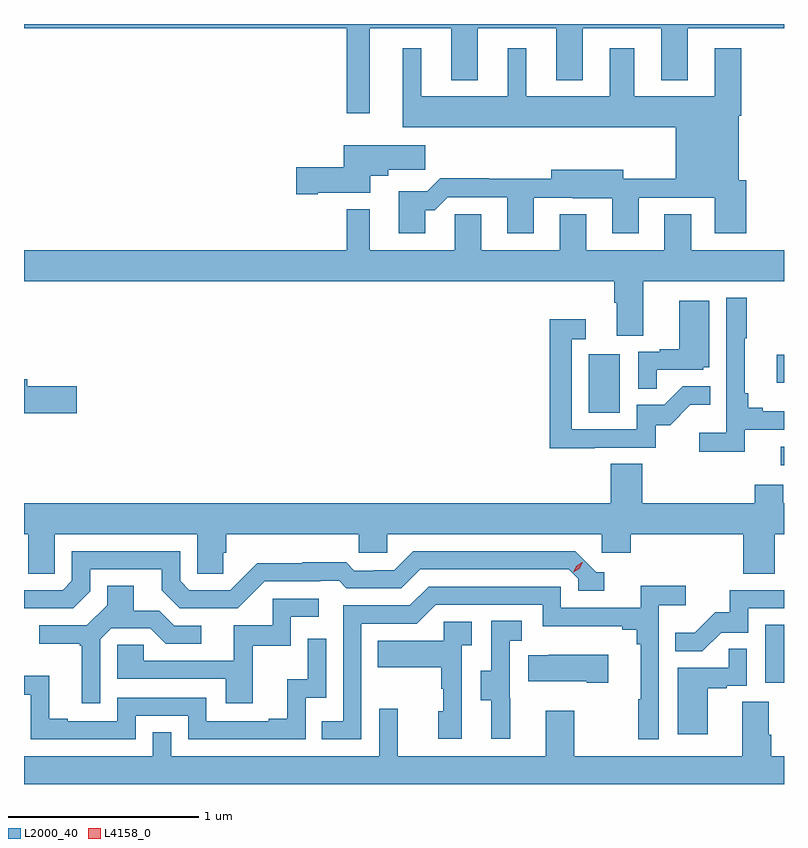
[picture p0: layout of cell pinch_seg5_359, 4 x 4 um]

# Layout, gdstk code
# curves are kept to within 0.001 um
import gdstk
lib = gdstk.Library(unit=1e-6, precision=1e-09)
def R(c, l, rs):  # rectangles x0, y0, x1, y1
    for r in rs: c.add(gdstk.rectangle(r[:2], r[2:], *l))
def P(c, l, *ps):  # polygons
    for p in ps: c.add(gdstk.Polygon(p, *l))
L2000_40 = (2000, 40)
L4158_0 = (4158, 0)

pinch_seg5_359 = lib.new_cell('pinch_seg5_359')
R(pinch_seg5_359, L2000_40, [(990.092,886.614,990.19,886.921), (990.173,887.76,990.19,887.856), (989.162,888.036,989.326,888.343), (990.153,888.194,990.19,888.342)])
P(pinch_seg5_359, L2000_40, [(988.009,890.06),(988.439,890.06),(988.439,889.787),(988.579,889.787),(988.579,890.06),(988.991,890.06),(988.991,889.787),(989.131,889.787),(989.131,890.06),(989.543,890.06),(989.543,889.787),(989.683,889.787),(989.683,890.06),(990.19,890.06),(990.19,890.082),(986.19,890.082),(986.19,890.06),(987.888,890.06),(987.888,889.611),(988.009,889.611)],
  [(988.303,889.103),(988.352,889.103),(988.419,889.17),(988.733,889.17),(988.733,888.981),(988.873,888.981),(988.873,889.167),(989.285,889.166),(989.285,888.981),(989.425,888.981),(989.425,889.167),(989.825,889.167),(989.825,888.981),(989.99,888.981),(989.99,889.26),(989.953,889.26),(989.953,889.598),(989.966,889.598),(989.966,889.954),(989.825,889.954),(989.825,889.702),(989.401,889.702),(989.401,889.954),(989.273,889.954),(989.273,889.702),(988.834,889.702),(988.834,889.954),(988.736,889.954),(988.736,889.702),(988.282,889.702),(988.282,889.954),(988.184,889.954),(988.184,889.538),(989.621,889.538),(989.621,889.268),(989.344,889.268),(989.344,889.315),(988.964,889.315),(988.964,889.268),(988.637,889.268),(988.637,889.271),(988.382,889.271),(988.312,889.201),(988.163,889.201),(988.163,888.981),(988.303,888.981)],
  [(987.736,889.193),(988.012,889.193),(988.012,889.283),(988.108,889.283),(988.108,889.315),(988.303,889.315),(988.303,889.444),(987.872,889.444),(987.872,889.328),(987.624,889.328),(987.624,889.186),(987.736,889.186)],
  [(989.297,888.616),(989.309,888.616),(989.309,888.442),(989.449,888.442),(989.449,888.728),(990.19,888.728),(990.19,888.892),(989.701,888.892),(989.701,889.082),(989.561,889.082),(989.561,888.892),(989.149,888.892),(989.149,889.081),(989.009,889.081),(989.009,888.892),(988.597,888.892),(988.597,889.082),(988.458,889.082),(988.458,888.892),(988.009,888.892),(988.009,889.108),(987.888,889.108),(987.888,888.892),(986.19,888.892),(986.19,888.728),(989.297,888.728)],
  [(989.984,887.946),(990.19,887.946),(990.19,888.043),(990.079,888.043),(990.079,888.062),(990.002,888.062),(990.002,888.139),(989.983,888.139),(989.983,888.427),(989.995,888.427),(989.995,888.64),(989.886,888.64),(989.886,887.932),(989.745,887.932),(989.745,887.83),(989.984,887.83)],
  [(989.519,888.261),(989.766,888.261),(989.766,888.276),(989.797,888.276),(989.797,888.625),(989.639,888.625),(989.639,888.37),(989.535,888.37),(989.535,888.357),(989.424,888.357),(989.424,888.163),(989.519,888.163)],
  [(989.195,887.853),(989.514,887.853),(989.514,887.97),(989.59,887.97),(989.697,888.077),(989.801,888.077),(989.801,888.176),(989.657,888.176),(989.559,888.078),(989.415,888.078),(989.415,887.949),(989.073,887.949),(989.073,888.423),(989.146,888.423),(989.146,888.529),(988.957,888.529),(988.957,887.848),(989.195,887.848)],
  [(986.467,888.176),(986.206,888.176),(986.206,888.212),(986.19,888.212),(986.19,888.034),(986.467,888.034)],
  [(986.352,887.396),(987.102,887.396),(987.102,887.188),(987.239,887.188),(987.239,887.298),(987.254,887.298),(987.254,887.396),(987.951,887.396),(987.951,887.298),(988.101,887.298),(988.101,887.396),(989.232,887.396),(989.232,887.298),(989.384,887.298),(989.384,887.396),(989.975,887.396),(989.975,887.188),(990.14,887.188),(990.14,887.396),(990.19,887.396),(990.19,887.56),(990.186,887.56),(990.186,887.658),(990.035,887.658),(990.035,887.56),(989.444,887.56),(989.444,887.768),(989.279,887.768),(989.279,887.56),(986.19,887.56),(986.19,887.396),(986.213,887.396),(986.213,887.188),(986.352,887.188)],
  [(986.232,887.007),(986.448,887.007),(986.538,887.097),(986.538,887.211),(986.915,887.211),(986.915,887.101),(987.009,887.007),(987.315,887.007),(987.456,887.148),(987.749,887.148),(987.749,887.151),(987.848,887.151),(987.887,887.112),(988.176,887.112),(988.275,887.211),(989.058,887.211),(989.106,887.163),(989.106,887.1),(989.245,887.1),(989.245,887.196),(989.202,887.196),(989.091,887.307),(988.238,887.307),(988.139,887.208),(988.032,887.208),(988.032,887.205),(987.929,887.205),(987.887,887.248),(987.654,887.248),(987.654,887.245),(987.418,887.245),(987.276,887.103),(987.06,887.103),(987.012,887.151),(987.012,887.307),(986.442,887.307),(986.442,887.151),(986.394,887.103),(986.19,887.103),(986.19,887.006)],
  [(987.966,886.926),(988.257,886.926),(988.356,887.025),(988.92,887.025),(988.92,886.913),(989.339,886.913),(989.339,886.894),(989.416,886.894),(989.416,886.817),(989.435,886.817),(989.435,886.529),(989.424,886.529),(989.424,886.317),(989.532,886.317),(989.532,887.024),(989.674,887.024),(989.674,887.126),(989.435,887.126),(989.435,887.01),(989.016,887.01),(989.016,887.121),(988.319,887.121),(988.22,887.022),(987.87,887.022),(987.87,886.413),(987.757,886.413),(987.757,886.317),(987.966,886.317)],
  [(986.592,886.845),(986.649,886.902),(986.855,886.902),(986.936,886.821),(987.124,886.821),(987.124,886.914),(986.982,886.914),(986.902,886.994),(986.767,886.994),(986.767,887.126),(986.627,887.126),(986.627,887.024),(986.52,886.917),(986.271,886.917),(986.271,886.82),(986.484,886.82),(986.484,886.809),(986.495,886.809),(986.495,886.506),(986.592,886.506)],
  [(989.859,886.878),(990.003,886.878),(990.003,887.007),(990.19,887.007),(990.19,887.103),(989.905,887.103),(989.905,886.986),(989.828,886.986),(989.721,886.879),(989.617,886.879),(989.617,886.78),(989.761,886.78)],
  [(987.395,886.809),(987.594,886.809),(987.594,886.962),(987.742,886.962),(987.742,887.058),(987.498,887.058),(987.498,886.917),(987.293,886.917),(987.293,886.731),(986.819,886.731),(986.819,886.815),(986.682,886.815),(986.682,886.635),(987.251,886.635),(987.251,886.506),(987.395,886.506)],
  [(988.748,886.533),(988.746,886.533),(988.746,886.837),(988.81,886.837),(988.81,886.94),(988.65,886.94),(988.65,886.677),(988.595,886.677),(988.595,886.522),(988.649,886.522),(988.649,886.32),(988.748,886.32)],
  [(988.494,886.811),(988.546,886.811),(988.546,886.935),(988.398,886.935),(988.398,886.837),(988.051,886.837),(988.051,886.697),(988.386,886.697),(988.386,886.583),(988.396,886.583),(988.396,886.464),(988.37,886.464),(988.37,886.32),(988.494,886.32)],
  [(986.778,886.44),(987.054,886.44),(987.054,886.317),(987.672,886.317),(987.672,886.536),(987.78,886.536),(987.78,886.846),(987.684,886.846),(987.684,886.634),(987.575,886.634),(987.575,886.426),(987.479,886.426),(987.479,886.413),(987.15,886.413),(987.15,886.536),(986.682,886.536),(986.682,886.413),(986.419,886.413),(986.419,886.426),(986.323,886.426),(986.323,886.651),(986.19,886.651),(986.19,886.553),(986.226,886.553),(986.226,886.317),(986.778,886.317)],
  [(989.788,886.587),(989.888,886.587),(989.888,886.599),(989.994,886.599),(989.994,886.793),(989.899,886.793),(989.899,886.695),(989.63,886.695),(989.63,886.344),(989.788,886.344)],
  [(989.266,886.762),(988.951,886.762),(988.951,886.759),(988.843,886.759),(988.843,886.622),(989.153,886.622),(989.153,886.615),(989.266,886.615)],
  [(990.19,886.228),(990.122,886.228),(990.122,886.34),(990.109,886.34),(990.109,886.514),(989.969,886.514),(989.969,886.228),(989.085,886.228),(989.085,886.468),(988.937,886.468),(988.937,886.228),(988.157,886.228),(988.157,886.477),(988.059,886.477),(988.059,886.228),(986.964,886.228),(986.964,886.355),(986.868,886.355),(986.868,886.228),(986.19,886.228),(986.19,886.082),(990.19,886.082)])
P(pinch_seg5_359, L4158_0, [(989.082,887.197),(989.082,887.197),(989.098,887.23),(989.129,887.248),(989.13,887.248),(989.13,887.248),(989.113,887.216),(989.082,887.197)])

lib.write_gds('pinch_seg5_359.gds')
